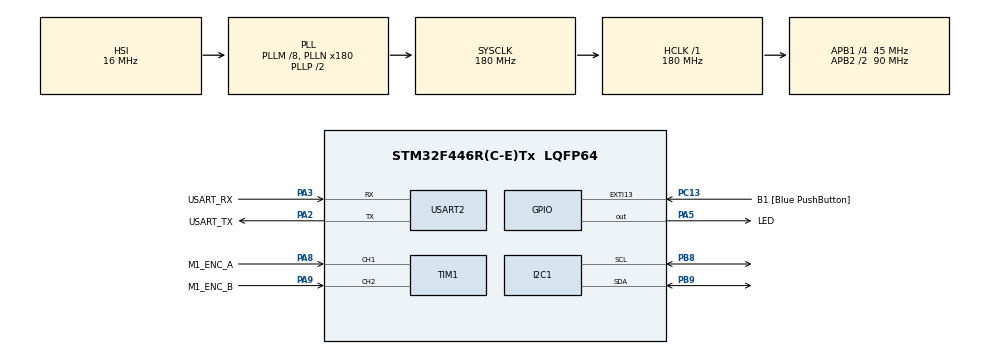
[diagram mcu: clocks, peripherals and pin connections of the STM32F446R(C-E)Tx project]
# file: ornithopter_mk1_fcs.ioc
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FREERTOS.Queues01=dfl_log_q,16,512,1,Dynamic,NULL,NULL
FREERTOS.Tasks01=defaultLogger,8,1024,StartDefaultLogger,Default,NULL,Dynamic,NULL,NULL;logDriverStatus,8,512,StartLogDriverStatus,Default,NULL,Dynamic,NULL,NULL;readEncoders,16,512,StartReadEncoders,Default,NULL,Dynamic,NULL,NULL;driveMotors,40,512,StartDriveMotors,Default,NULL,Dynamic,NULL,NULL
FREERTOS.configENABLE_FPU=1
FREERTOS.configMAX_TASK_NAME_LEN=32
FREERTOS.configMINIMAL_STACK_SIZE=128
FREERTOS.configTOTAL_HEAP_SIZE=20576
FREERTOS.configUSE_NEWLIB_REENTRANT=1
I2C1.OwnAddress=16
Mcu.Family=STM32F4
Mcu.Name=STM32F446R(C-E)Tx
Mcu.Package=LQFP64
NVIC.PriorityGroup=NVIC_PRIORITYGROUP_4
NVIC.TIM6_DAC_IRQn=true\:0\:0\:true\:false\:true\:false\:false\:true\:true
NVIC.TimeBase=TIM6_DAC_IRQn
NVIC.TimeBaseIP=TIM6
PA13.GPIO_Label=TMS
PA13.Mode=Serial_Wire
PA13.Signal=SYS_JTMS-SWDIO
PA14.GPIO_Label=TCK
PA14.Mode=Serial_Wire
PA14.Signal=SYS_JTCK-SWCLK
PA2.GPIO_Label=USART_TX
PA2.Mode=Asynchronous
PA2.Signal=USART2_TX
PA3.GPIO_Label=USART_RX
PA3.Mode=Asynchronous
PA3.Signal=USART2_RX
PA5.GPIO_Label=LED
PA5.Signal=GPIO_Output
PA8.GPIO_Label=M1_ENC_A
PA8.Signal=S_TIM1_CH1
PA9.GPIO_Label=M1_ENC_B
PA9.Signal=S_TIM1_CH2
PB8.Mode=I2C
PB8.Signal=I2C1_SCL
PB9.Mode=I2C
PB9.Signal=I2C1_SDA
PC13.GPIO_Label=B1 [Blue PushButton]
PC13.GPIO_ModeDefaultEXTI=GPIO_MODE_IT_FALLING
PC13.Signal=GPXTI13
PC14-OSC32_IN.Mode=LSE-External-Oscillator
PC14-OSC32_IN.Signal=RCC_OSC32_IN
PC15-OSC32_OUT.Mode=LSE-External-Oscillator
PC15-OSC32_OUT.Signal=RCC_OSC32_OUT
PH0-OSC_IN.Mode=HSE-External-Oscillator
PH0-OSC_IN.Signal=RCC_OSC_IN
PH1-OSC_OUT.Mode=HSE-External-Oscillator
PH1-OSC_OUT.Signal=RCC_OSC_OUT
ProjectManager.HeapSize=0x200
ProjectManager.StackSize=0x400
ProjectManager.TargetToolchain=STM32CubeIDE
RCC.48MHZClocksFreq_Value=84000000
RCC.AHBFreq_Value=180000000
RCC.APB1CLKDivider=RCC_HCLK_DIV4
RCC.APB1Freq_Value=45000000
RCC.APB1TimFreq_Value=90000000
RCC.APB2CLKDivider=RCC_HCLK_DIV2
RCC.APB2Freq_Value=90000000
RCC.APB2TimFreq_Value=180000000
RCC.CortexFreq_Value=180000000
RCC.FLatency-AdvancedSettings=FLASH_LATENCY_5
RCC.HCLKFreq_Value=180000000
RCC.HSE_VALUE=8000000
RCC.HSI_VALUE=16000000
RCC.PLLM=8
RCC.PLLN=180
RCC.SYSCLKFreq_VALUE=180000000
RCC.SYSCLKSource=RCC_SYSCLKSOURCE_PLLCLK
RCC.USBFreq_Value=180000000
RCC.VCOOutputFreq_Value=360000000
SH.S_TIM1_CH1.0=TIM1_CH1,Encoder_Interface
SH.S_TIM1_CH2.0=TIM1_CH2,Encoder_Interface
TIM1.EncoderMode=TIM_ENCODERMODE_TI12
TIM1.IC1Filter=5
TIM1.IC2Filter=5
USART2.VirtualMode=VM_ASYNC
VP_FREERTOS_VS_CMSIS_V2.Mode=CMSIS_V2
VP_SYS_VS_tim6.Mode=TIM6
board=NUCLEO-F446RE

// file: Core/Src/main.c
/* USER CODE BEGIN Header */
/**
  ******************************************************************************
  * @file           : main.c
  * @brief          : Main program body
  ******************************************************************************
  * @attention
  *
  * Copyright (c) 2025 STMicroelectronics.
  * All rights reserved.
  *
  * This software is licensed under terms that can be found in the LICENSE file
  * in the root directory of this software component.
  * If no LICENSE file comes with this software, it is provided AS-IS.
  *
  ******************************************************************************
  */
/* USER CODE END Header */
#include "main.h"
#include "cmsis_os.h"

/* USER CODE BEGIN Includes */

#include "logger.h"
#include "motor_module.h"
#include "utils.h"
#include "pid.h"
#include <stdio.h>

/* USER CODE END Includes */

/* USER CODE BEGIN PD */

#define MM1_I2C_ADDR	(0x0F << 1)

/* USER CODE END PD */

I2C_HandleTypeDef hi2c1;

TIM_HandleTypeDef htim1;

UART_HandleTypeDef huart2;

/* Definitions for defaultLogger */
osThreadId_t defaultLoggerHandle;
const osThreadAttr_t defaultLogger_attributes = {
  .name = "defaultLogger",
  .stack_size = 1024 * 4,
  .priority = (osPriority_t) osPriorityLow,
};
/* Definitions for logDriverStatus */
osThreadId_t logDriverStatusHandle;
const osThreadAttr_t logDriverStatus_attributes = {
  .name = "logDriverStatus",
  .stack_size = 512 * 4,
  .priority = (osPriority_t) osPriorityLow,
};
/* Definitions for readEncoders */
osThreadId_t readEncodersHandle;
const osThreadAttr_t readEncoders_attributes = {
  .name = "readEncoders",
  .stack_size = 512 * 4,
  .priority = (osPriority_t) osPriorityBelowNormal,
};
/* Definitions for driveMotors */
osThreadId_t driveMotorsHandle;
const osThreadAttr_t driveMotors_attributes = {
  .name = "driveMotors",
  .stack_size = 512 * 4,
  .priority = (osPriority_t) osPriorityHigh,
};
/* Definitions for dfl_log_q */
osMessageQueueId_t dfl_log_qHandle;
const osMessageQueueAttr_t dfl_log_q_attributes = {
  .name = "dfl_log_q"
};
/* USER CODE BEGIN PV */

Logger dfl_logger;
MotorModule mm1;
PID mm1_pid;

/* USER CODE END PV */

void SystemClock_Config(void);
static void MX_GPIO_Init(void);
static void MX_USART2_UART_Init(void);
static void MX_I2C1_Init(void);
static void MX_TIM1_Init(void);
void StartDefaultLogger(void *argument);
void StartLogDriverStatus(void *argument);
void StartReadEncoders(void *argument);
void StartDriveMotors(void *argument);

/* USER CODE BEGIN PFP */

static void MotorModules_Init(void);

/* USER CODE END PFP */

/* USER CODE BEGIN 0 */

// Send printf to uart2
int _write(int fd, char* ptr, int len) {
  HAL_StatusTypeDef hstatus;
  if (fd == 1 || fd == 2) {
	  hstatus = HAL_UART_Transmit(&huart2, (uint8_t *) ptr, len, HAL_MAX_DELAY);
	  if (hstatus == HAL_OK)
		  return len;
	  else
		  return -1;
  }
  return -1;
}

/* USER CODE END 0 */

int main(void)
{

  /* MCU Configuration--------------------------------------------------------*/

  /* Reset of all peripherals, Initializes the Flash interface and the Systick. */
  HAL_Init();

  /* Configure the system clock */
  SystemClock_Config();

  /* Initialize all configured peripherals */
  MX_GPIO_Init();
  MX_USART2_UART_Init();
  MX_I2C1_Init();
  MX_TIM1_Init();

  /* Init scheduler */
  osKernelInitialize();

  /* Create the queue(s) */
  /* creation of dfl_log_q */
  dfl_log_qHandle = osMessageQueueNew (16, 512, &dfl_log_q_attributes);

  /* USER CODE BEGIN RTOS_QUEUES */
  Logger_init(&dfl_logger, dfl_log_qHandle, stdout);
  i2c_probe(&hi2c1);
  MotorModules_Init();
  PID_init(&mm1_pid, 1, 0.005, 0.003);
  /* USER CODE END RTOS_QUEUES */

  /* Create the thread(s) */
  /* creation of defaultLogger */
  defaultLoggerHandle = osThreadNew(StartDefaultLogger, NULL, &defaultLogger_attributes);

  /* creation of logDriverStatus */
  logDriverStatusHandle = osThreadNew(StartLogDriverStatus, NULL, &logDriverStatus_attributes);

  /* creation of readEncoders */
  readEncodersHandle = osThreadNew(StartReadEncoders, NULL, &readEncoders_attributes);

  /* creation of driveMotors */
  driveMotorsHandle = osThreadNew(StartDriveMotors, NULL, &driveMotors_attributes);

  /* Start scheduler */
  osKernelStart();

  /* We should never get here as control is now taken by the scheduler */

  /* Infinite loop */
  while (1) {

  }
}

void SystemClock_Config(void)
{
  RCC_OscInitTypeDef RCC_OscInitStruct = {0};
  RCC_ClkInitTypeDef RCC_ClkInitStruct = {0};

  /** Configure the main internal regulator output voltage
  */
  __HAL_RCC_PWR_CLK_ENABLE();
  __HAL_PWR_VOLTAGESCALING_CONFIG(PWR_REGULATOR_VOLTAGE_SCALE1);

  /** Initializes the RCC Oscillators according to the specified parameters
  * in the RCC_OscInitTypeDef structure.
  */
  RCC_OscInitStruct.OscillatorType = RCC_OSCILLATORTYPE_HSI;
  RCC_OscInitStruct.HSIState = RCC_HSI_ON;
  RCC_OscInitStruct.HSICalibrationValue = RCC_HSICALIBRATION_DEFAULT;
  RCC_OscInitStruct.PLL.PLLState = RCC_PLL_ON;
  RCC_OscInitStruct.PLL.PLLSource = RCC_PLLSOURCE_HSI;
  RCC_OscInitStruct.PLL.PLLM = 8;
  RCC_OscInitStruct.PLL.PLLN = 180;
  RCC_OscInitStruct.PLL.PLLP = RCC_PLLP_DIV2;
  RCC_OscInitStruct.PLL.PLLQ = 2;
  RCC_OscInitStruct.PLL.PLLR = 2;
  if (HAL_RCC_OscConfig(&RCC_OscInitStruct) != HAL_OK)
  {
    Error_Handler();
  }

  /** Activate the Over-Drive mode
  */
  if (HAL_PWREx_EnableOverDrive() != HAL_OK)
  {
    Error_Handler();
  }

  /** Initializes the CPU, AHB and APB buses clocks
  */
  RCC_ClkInitStruct.ClockType = RCC_CLOCKTYPE_HCLK|RCC_CLOCKTYPE_SYSCLK
                              |RCC_CLOCKTYPE_PCLK1|RCC_CLOCKTYPE_PCLK2;
  RCC_ClkInitStruct.SYSCLKSource = RCC_SYSCLKSOURCE_PLLCLK;
  RCC_ClkInitStruct.AHBCLKDivider = RCC_SYSCLK_DIV1;
  RCC_ClkInitStruct.APB1CLKDivider = RCC_HCLK_DIV4;
  RCC_ClkInitStruct.APB2CLKDivider = RCC_HCLK_DIV2;

  if (HAL_RCC_ClockConfig(&RCC_ClkInitStruct, FLASH_LATENCY_5) != HAL_OK)
  {
    Error_Handler();
  }
}

static void MX_I2C1_Init(void)
{

  hi2c1.Instance = I2C1;
  hi2c1.Init.ClockSpeed = 100000;
  hi2c1.Init.DutyCycle = I2C_DUTYCYCLE_2;
  hi2c1.Init.OwnAddress1 = 32;
  hi2c1.Init.AddressingMode = I2C_ADDRESSINGMODE_7BIT;
  hi2c1.Init.DualAddressMode = I2C_DUALADDRESS_DISABLE;
  hi2c1.Init.OwnAddress2 = 0;
  hi2c1.Init.GeneralCallMode = I2C_GENERALCALL_DISABLE;
  hi2c1.Init.NoStretchMode = I2C_NOSTRETCH_DISABLE;
  if (HAL_I2C_Init(&hi2c1) != HAL_OK)
  {
    Error_Handler();
  }

}

static void MX_TIM1_Init(void)
{

  TIM_Encoder_InitTypeDef sConfig = {0};
  TIM_MasterConfigTypeDef sMasterConfig = {0};

  htim1.Instance = TIM1;
  htim1.Init.Prescaler = 0;
  htim1.Init.CounterMode = TIM_COUNTERMODE_UP;
  htim1.Init.Period = 65535;
  htim1.Init.ClockDivision = TIM_CLOCKDIVISION_DIV1;
  htim1.Init.RepetitionCounter = 0;
  htim1.Init.AutoReloadPreload = TIM_AUTORELOAD_PRELOAD_DISABLE;
  sConfig.EncoderMode = TIM_ENCODERMODE_TI12;
  sConfig.IC1Polarity = TIM_ICPOLARITY_RISING;
  sConfig.IC1Selection = TIM_ICSELECTION_DIRECTTI;
  sConfig.IC1Prescaler = TIM_ICPSC_DIV1;
  sConfig.IC1Filter = 5;
  sConfig.IC2Polarity = TIM_ICPOLARITY_RISING;
  sConfig.IC2Selection = TIM_ICSELECTION_DIRECTTI;
  sConfig.IC2Prescaler = TIM_ICPSC_DIV1;
  sConfig.IC2Filter = 5;
  if (HAL_TIM_Encoder_Init(&htim1, &sConfig) != HAL_OK)
  {
    Error_Handler();
  }
  sMasterConfig.MasterOutputTrigger = TIM_TRGO_RESET;
  sMasterConfig.MasterSlaveMode = TIM_MASTERSLAVEMODE_DISABLE;
  if (HAL_TIMEx_MasterConfigSynchronization(&htim1, &sMasterConfig) != HAL_OK)
  {
    Error_Handler();
  }

}

static void MX_USART2_UART_Init(void)
{

  huart2.Instance = USART2;
  huart2.Init.BaudRate = 115200;
  huart2.Init.WordLength = UART_WORDLENGTH_8B;
  huart2.Init.StopBits = UART_STOPBITS_1;
  huart2.Init.Parity = UART_PARITY_NONE;
  huart2.Init.Mode = UART_MODE_TX_RX;
  huart2.Init.HwFlowCtl = UART_HWCONTROL_NONE;
  huart2.Init.OverSampling = UART_OVERSAMPLING_16;
  if (HAL_UART_Init(&huart2) != HAL_OK)
  {
    Error_Handler();
  }

}

static void MX_GPIO_Init(void)
{
  GPIO_InitTypeDef GPIO_InitStruct = {0};

  /* GPIO Ports Clock Enable */
  __HAL_RCC_GPIOC_CLK_ENABLE();
  __HAL_RCC_GPIOH_CLK_ENABLE();
  __HAL_RCC_GPIOA_CLK_ENABLE();
  __HAL_RCC_GPIOB_CLK_ENABLE();

  /*Configure GPIO pin Output Level */
  HAL_GPIO_WritePin(LED_GPIO_Port, LED_Pin, GPIO_PIN_RESET);

  /*Configure GPIO pin : B1_Pin */
  GPIO_InitStruct.Pin = B1_Pin;
  GPIO_InitStruct.Mode = GPIO_MODE_IT_FALLING;
  GPIO_InitStruct.Pull = GPIO_NOPULL;
  HAL_GPIO_Init(B1_GPIO_Port, &GPIO_InitStruct);

  /*Configure GPIO pin : LED_Pin */
  GPIO_InitStruct.Pin = LED_Pin;
  GPIO_InitStruct.Mode = GPIO_MODE_OUTPUT_PP;
  GPIO_InitStruct.Pull = GPIO_NOPULL;
  GPIO_InitStruct.Speed = GPIO_SPEED_FREQ_LOW;
  HAL_GPIO_Init(LED_GPIO_Port, &GPIO_InitStruct);

}

/* USER CODE BEGIN 4 */

static void MotorModules_Init(void)
{
	/* Motor 1 (front left) */
	mm1.cfg.htim = &htim1;
	mm1.cfg.hi2c = &hi2c1;
	mm1.cfg.i2c_addr = MM1_I2C_ADDR;
	mm1.cfg.motor_num = 1;
	MM_Init(&mm1);
}

/* USER CODE END 4 */

void StartDefaultLogger(void *argument)
{
  /* USER CODE BEGIN 5 */
  /* Infinite loop */
	for (;;) {
		Logger_write_log(&dfl_logger);
		delay(1);
	}
  /* USER CODE END 5 */
}

void StartLogDriverStatus(void *argument)
{
  /* USER CODE BEGIN StartLogDriverStatus */
  /* Infinite loop */
	for (;;) {
		MMD_Log_Status_Flags(&mm1);
		delay(1000);
	}
  /* USER CODE END StartLogDriverStatus */
}

void StartReadEncoders(void *argument)
{
  /* USER CODE BEGIN StartReadEncoders */
  /* Infinite loop */
	for (;;) {
		MME_Update(&mm1);
		delay(10);
	}
  /* USER CODE END StartReadEncoders */
}

void StartDriveMotors(void *argument)
{
  /* USER CODE BEGIN StartDriveMotors */
  /* Infinite loop */
	PID_reset(&mm1_pid, 90, mm1.angle);
	for (;;) {
		int16_t speed = (int16_t)clampf(PID_update(&mm1_pid, mm1.angle), -800, 800);
		log_info(&dfl_logger, "angle=%.3f -- rpm=%.3f -- speed=%d", mm1.angle, mm1.rpm, speed);
		MMD_Set_Speed(&mm1, speed, MMD_CMD_SET_SPEED_NORMAL);
		delay(20);
	}
  /* USER CODE END StartDriveMotors */
}

void HAL_TIM_PeriodElapsedCallback(TIM_HandleTypeDef *htim)
{
  if (htim->Instance == TIM6)
  {
    HAL_IncTick();
  }
}

void Error_Handler(void)
{
  __disable_irq();
  while (1)
  {
  }
}
